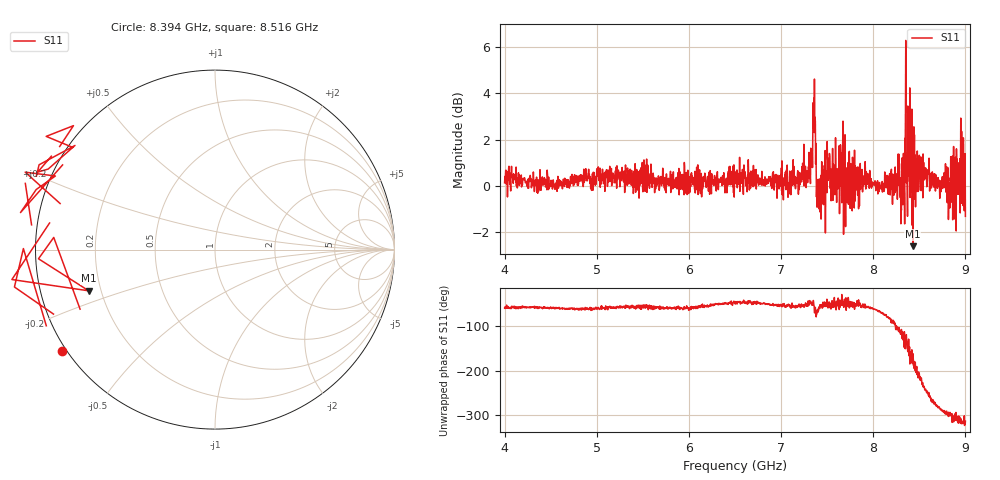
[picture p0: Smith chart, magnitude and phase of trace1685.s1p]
! Created with skrf 1.8.0 (http://scikit-rf.org).
# Hz S RI R 50.0
!freq ReS11 ImS11
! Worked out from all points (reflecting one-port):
!   1601 points, 4 GHz to 9 GHz, reference 50 ohm
!   lowest |S11| = -2.6 dB at 8.431 GHz (marker M1), VSWR 6.69, Z = 7.65 - j7.77 ohm
!   phase of S11 starts at -58 deg and turns -256 deg over the sweep
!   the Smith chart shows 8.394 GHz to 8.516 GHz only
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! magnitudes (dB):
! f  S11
! 4 GHz  0.1
! 4.625 GHz  -0.1
! 5.25 GHz  0.0
! 5.875 GHz  0.3
! 6.5 GHz  0.4
! 7.125 GHz  0.7
! 7.294 GHz  0.5
! 7.316 GHz  0.3
! 7.353 GHz  2.5
! 7.369 GHz  3.0
! 7.409 GHz  -1.0
! 7.509 GHz  0.2
! 7.609 GHz  0.6
! 7.65 GHz  1.4
! 7.703 GHz  0.8
! 7.75 GHz  -1.0
! 8.097 GHz  0.2
! 8.262 GHz  -0.6
! 8.316 GHz  0.0
! 8.331 GHz  0.6
! 8.375 GHz  3.5
! 8.4 GHz  -0.5
! 8.412 GHz  0.6
! 8.431 GHz  -2.6
! 8.825 GHz  -0.5
! 8.953 GHz  -0.8
! 8.972 GHz  0.5
! 9 GHz  -1.3
